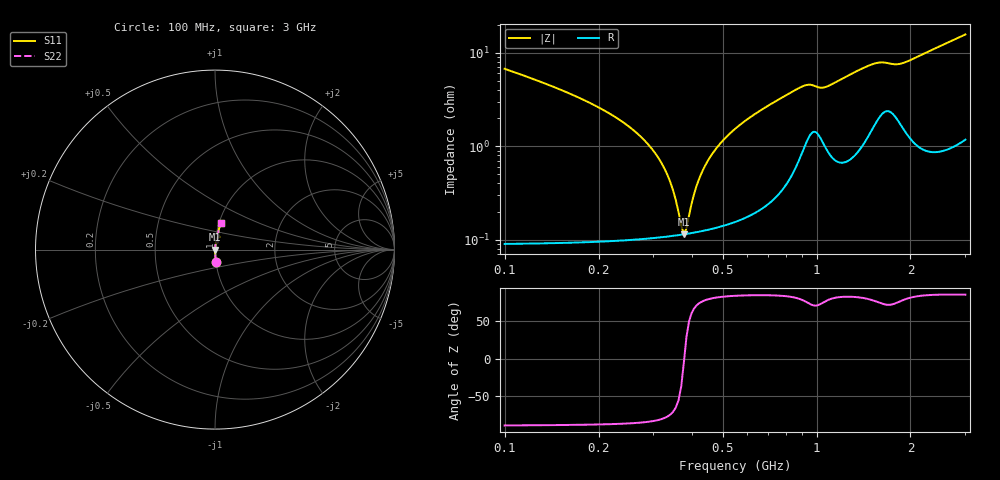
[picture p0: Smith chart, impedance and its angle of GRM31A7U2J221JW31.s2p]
!Murata Part Number: GRM31A7U2J221JW31
!These Parameters are Measured in Series Mode Connection
!Data Generated on Mar 30, 2021
!  o--ll--o
!Port1  Port2
!  o------o
!Operation Temp=25[degC], DC Bias Voltage=0[V]
!Freq. Start=100[MHz] Stop=3[GHz] 401[Steps]
# Hz S RI R 50
!Freq.(Hz) S11(Real) S11(Imag) S21(Real) S21(Imag) S12(Real) S12(Imag) S22(Real) S22(Imag)
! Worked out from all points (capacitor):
!   401 points, 100 MHz to 3 GHz, reference 50 ohm
!   read as one part in series: C = 220 pF near 114.5 MHz
!   lowest |Z| = 115 mohm at 375.5 MHz (marker M1)
!   series resonance near 376.5 MHz, so ESL is about 810 pH
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1e8  0.0054 -0.0669  0.9946 0.0669  0.9946 0.0669  0.0054 -0.0669
2.3775e8  0.00132 -0.0183  0.9987 0.0183  0.9987 0.0183  0.00132 -0.0183
2.885e8  0.00114 -0.0104  0.9989 0.0104  0.9989 0.0104  0.00114 -0.0104
3.32e8  0.00111 -0.00489  0.9989 0.00489  0.9989 0.00489  0.00111 -0.00489
3.61e8  0.00112 -0.00163  0.9989 0.00163  0.9989 0.00163  0.00112 -0.00163
3.6825e8  0.00113 -0.000859  0.9989 0.000859  0.9989 0.000859  0.00113 -0.000859
3.755e8  0.00114 -0.000101  0.9989 0.000101  0.9989 0.000101  0.00114 -0.000101
3.8275e8  0.00116 0.000643  0.9988 -0.000643  0.9988 -0.000643  0.00116 0.000643
3.9e8  0.00117 0.00137  0.9988 -0.00137  0.9988 -0.00137  0.00117 0.00137
4.19e8  0.00124 0.00418  0.9988 -0.00418  0.9988 -0.00418  0.00124 0.00418
4.5525e8  0.00135 0.00749  0.9987 -0.00749  0.9987 -0.00749  0.00135 0.00749
5.1325e8  0.00159 0.0124  0.9984 -0.0124  0.9984 -0.0124  0.00159 0.0124
5.8575e8  0.00202 0.0182  0.998 -0.0182  0.998 -0.0182  0.00202 0.0182
7.1625e8  0.00336 0.0282  0.9966 -0.0282  0.9966 -0.0282  0.00336 0.0282
8.9025e8  0.00955 0.0414  0.9904 -0.0414  0.9904 -0.0414  0.00955 0.0414
1.0715e9  0.0111 0.0412  0.9889 -0.0412  0.9889 -0.0412  0.0111 0.0412
1.33975e9  0.012 0.0613  0.988 -0.0613  0.988 -0.0613  0.012 0.0613
1.55e9  0.0229 0.0723  0.9771 -0.0723  0.9771 -0.0723  0.0229 0.0723
1.81825e9  0.0237 0.0699  0.9763 -0.0699  0.9763 -0.0699  0.0237 0.0699
2.03575e9  0.018 0.0826  0.982 -0.0826  0.982 -0.0826  0.018 0.0826
2.5215e9  0.0225 0.116  0.9775 -0.116  0.9775 -0.116  0.0225 0.116
3e9  0.0347 0.1491  0.9653 -0.1491  0.9653 -0.1491  0.0347 0.1491
